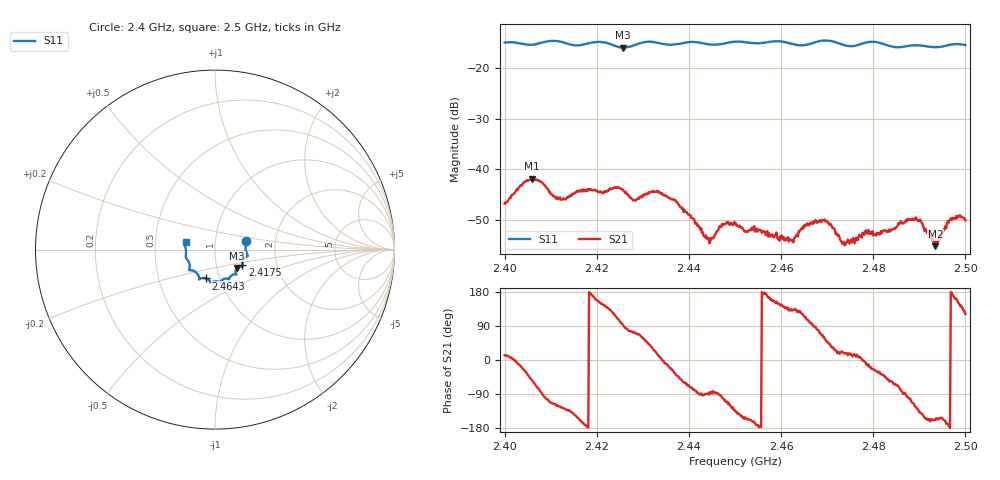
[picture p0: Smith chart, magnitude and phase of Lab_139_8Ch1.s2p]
# Hz S RI R 50
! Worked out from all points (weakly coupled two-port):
!   601 points, 2.4 GHz to 2.5 GHz, reference 50 ohm
!   highest |S21| = -41.89 dB at 2.406 GHz (marker M1); lowest = -55.2 dB at 2.4935 GHz (marker M2)
!   lowest |S11| = -15.9 dB at 2.4257 GHz (marker M3), VSWR 1.38, Z = 62.5 - j13.1 ohm
!   |S11| at or under -10 dB: start of sweep to end of sweep
!   S12 and S22 are empty: the file has one direction only
!   S11 on the Smith chart (normalised r, x): 2.4 GHz: 1.41, +0.14; 2.4175 GHz: 1.34, -0.23; 2.4643 GHz: 0.86, -0.29; 2.5 GHz: 0.72, +0.06
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2.4e9  0.1727 0.0488  0.00445 0.000976  0 0  0 0
2.406e9  0.1708 0.00205  0.00471 -0.00652  0 0  0 0
2.412e9  0.1801 -0.0374  -0.00284 -0.00443  0 0  0 0
2.416667e9  0.1528 -0.0741  -0.00594 -0.00194  0 0  0 0
2.4175e9  0.1517 -0.0836  -0.00616 -0.000881  0 0  0 0
2.425667e9  0.123 -0.1019  -0.000313 0.00622  0 0  0 0
2.428167e9  0.1147 -0.1245  0.00148 0.00473  0 0  0 0
2.433333e9  0.1131 -0.1372  0.00595 0.0013  0 0  0 0
2.437333e9  0.0852 -0.1503  0.00353 -0.00311  0 0  0 0
2.444333e9  0.0611 -0.161  -6.18e-05 -0.00209  0 0  0 0
2.447667e9  0.0367 -0.1717  -0.000775 -0.00273  0 0  0 0
2.45e9  0.0288 -0.1809  -0.00195 -0.00211  0 0  0 0
2.462167e9  -0.0309 -0.1722  -0.00138 0.00144  0 0  0 0
2.464333e9  -0.0498 -0.1609  -0.00142 0.00211  0 0  0 0
2.466667e9  -0.0758 -0.1594  -0.000359 0.00292  0 0  0 0
2.469667e9  -0.0885 -0.1662  0.00184 0.0024  0 0  0 0
2.473667e9  -0.0951 -0.1401  0.0018 0.000563  0 0  0 0
2.483333e9  -0.1408 -0.0901  0.00149 -0.0019  0 0  0 0
2.489667e9  -0.1631 -0.0421  -0.00198 -0.00235  0 0  0 0
2.4935e9  -0.1613 -0.00822  -0.00161 -0.000637  0 0  0 0
2.496667e9  -0.1688 0.0249  -0.00314 -4.22e-05  0 0  0 0
2.5e9  -0.1639 0.0428  -0.00162 0.00266  0 0  0 0
